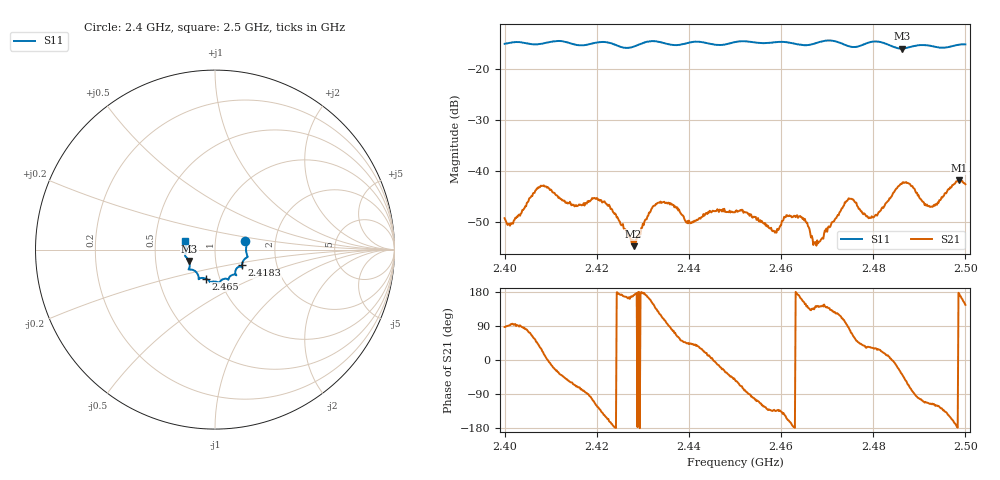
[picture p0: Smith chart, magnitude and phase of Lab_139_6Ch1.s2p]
# Hz S RI R 50
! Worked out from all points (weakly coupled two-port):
!   601 points, 2.4 GHz to 2.5 GHz, reference 50 ohm
!   highest |S21| = -41.84 dB at 2.4987 GHz (marker M1); lowest = -54.7 dB at 2.428 GHz (marker M2)
!   lowest |S11| = -16.1 dB at 2.4862 GHz (marker M3), VSWR 1.37, Z = 37.2 - j4.81 ohm
!   |S11| at or under -10 dB: start of sweep to end of sweep
!   S12 and S22 are empty: the file has one direction only
!   S11 on the Smith chart (normalised r, x): 2.4 GHz: 1.40, +0.14; 2.4183 GHz: 1.33, -0.24; 2.465 GHz: 0.86, -0.28; 2.5 GHz: 0.71, +0.07
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2.4e9  0.1686 0.047  0.000173 0.00345  0 0  0 0
2.401667e9  0.1766 0.0388  -0.000311 0.00308  0 0  0 0
2.408e9  0.1746 -0.0157  0.00631 0.00341  0 0  0 0
2.416667e9  0.1547 -0.0684  0.00104 -0.00451  0 0  0 0
2.418333e9  0.1501 -0.0871  -0.000338 -0.0051  0 0  0 0
2.422167e9  0.1523 -0.0987  -0.00422 -0.00219  0 0  0 0
2.428e9  0.1137 -0.1184  -0.00182 0.000282  0 0  0 0
2.433333e9  0.1176 -0.141  -0.00302 0.00385  0 0  0 0
2.44e9  0.0758 -0.163  0.00245 0.00218  0 0  0 0
2.45e9  0.0262 -0.1802  0.00242 -0.00313  0 0  0 0
2.4585e9  -0.0204 -0.1798  -0.00172 -0.00194  0 0  0 0
2.461167e9  -0.0293 -0.1793  -0.00332 -0.00164  0 0  0 0
2.465e9  -0.0524 -0.1615  -0.00292 0.00153  0 0  0 0
2.466667e9  -0.0713 -0.1578  -0.00165 0.00164  0 0  0 0
2.468667e9  -0.0876 -0.1621  -0.00168 0.00133  0 0  0 0
2.474667e9  -0.0983 -0.1337  0.000411 0.0054  0 0  0 0
2.4795e9  -0.1449 -0.1112  0.00292 0.00188  0 0  0 0
2.483333e9  -0.1413 -0.0967  0.00507 0.000841  0 0  0 0
2.486167e9  -0.144 -0.0631  0.00601 -0.00441  0 0  0 0
2.4925e9  -0.1651 -0.0248  -0.0019 -0.00406  0 0  0 0
2.498667e9  -0.167 0.0398  -0.00805 0.00077  0 0  0 0
2.5e9  -0.1666 0.0468  -0.00613 0.00421  0 0  0 0
